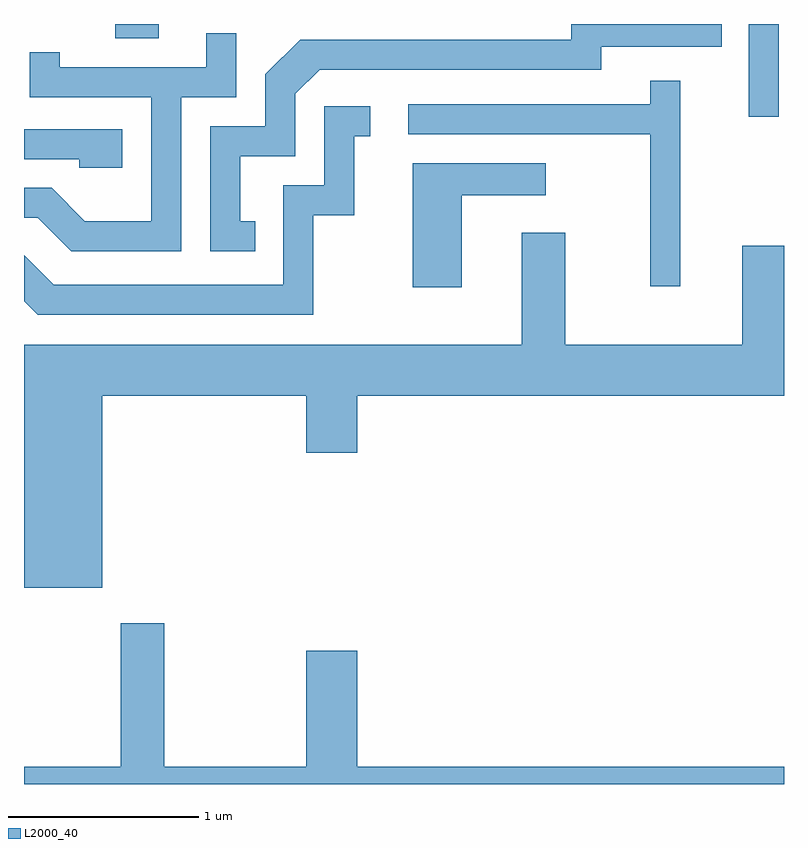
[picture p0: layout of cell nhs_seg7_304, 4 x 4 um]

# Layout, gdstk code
import gdstk
lib = gdstk.Library(unit=1e-6, precision=1e-09)
def R(c, l, rs):  # rectangles x0, y0, x1, y1
    for r in rs: c.add(gdstk.rectangle(r[:2], r[2:], *l))
def P(c, l, *ps):  # polygons
    for p in ps: c.add(gdstk.Polygon(p, *l))
L2000_40 = (2000, 40)

nhs_seg7_304 = lib.new_cell('nhs_seg7_304')
R(nhs_seg7_304, L2000_40, [(197.426,1735.763,197.584,1736.252), (194.091,1736.176,194.319,1736.252)])
P(nhs_seg7_304, L2000_40, [(194.828,1735.214),(194.749,1735.214),(194.749,1735.556),(195.039,1735.556),(195.039,1735.884),(195.167,1736.011),(196.649,1736.011),(196.649,1736.131),(197.283,1736.131),(197.283,1736.252),(196.491,1736.252),(196.491,1736.169),(195.064,1736.169),(194.881,1735.987),(194.881,1735.714),(194.591,1735.714),(194.591,1735.056),(194.828,1735.056)],
  [(194.439,1735.866),(194.729,1735.866),(194.729,1736.203),(194.571,1736.203),(194.571,1736.024),(193.799,1736.024),(193.799,1736.103),(193.641,1736.103),(193.641,1735.866),(194.281,1735.866),(194.281,1735.214),(193.932,1735.214),(193.757,1735.389),(193.611,1735.389),(193.611,1735.231),(193.684,1735.231),(193.859,1735.056),(194.439,1735.056)],
  [(197.064,1735.953),(196.906,1735.953),(196.906,1735.829),(195.633,1735.829),(195.633,1735.671),(196.906,1735.671),(196.906,1734.873),(197.064,1734.873)],
  [(195.134,1735.246),(195.349,1735.246),(195.349,1735.661),(195.433,1735.661),(195.433,1735.819),(195.191,1735.819),(195.191,1735.404),(194.976,1735.404),(194.976,1734.879),(193.767,1734.879),(193.611,1735.035),(193.611,1734.794),(193.684,1734.721),(195.134,1734.721)],
  [(194.129,1735.699),(193.611,1735.699),(193.611,1735.541),(193.901,1735.541),(193.901,1735.496),(194.129,1735.496)],
  [(195.914,1735.351),(196.358,1735.351),(196.358,1735.519),(195.656,1735.519),(195.656,1734.866),(195.914,1734.866)],
  [(194.024,1734.296),(195.096,1734.296),(195.096,1733.996),(195.364,1733.996),(195.364,1734.296),(197.611,1734.296),(197.611,1735.084),(197.391,1735.084),(197.391,1734.564),(196.459,1734.564),(196.459,1735.154),(196.231,1735.154),(196.231,1734.564),(193.611,1734.564),(193.611,1733.286),(194.024,1733.286)],
  [(197.611,1732.344),(195.364,1732.344),(195.364,1732.954),(195.096,1732.954),(195.096,1732.344),(194.349,1732.344),(194.349,1733.099),(194.121,1733.099),(194.121,1732.344),(193.611,1732.344),(193.611,1732.252),(197.611,1732.252)])

lib.write_gds('nhs_seg7_304.gds')
